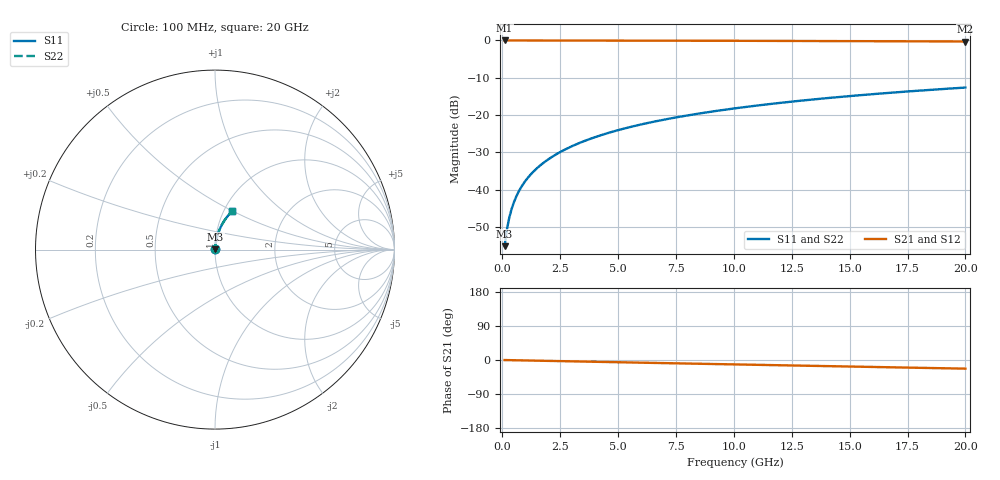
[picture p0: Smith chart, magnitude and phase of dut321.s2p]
! Touchstone file exported from HFSS 2026.1.0
!  File:  C:/ffzhzh/LocalFiles/Ansys_Project_Files/temp_train_BSMRDL_321_1783010826_46388.aedt
!  Generated:  12:48:29 AM Jul  3, 2026
!  Design:  BSMRDL
!  Project:  temp_train_BSMRDL_321_1783010826_46388
! Variables:
!  h_bsmrdl = 4.56um
!  h_ox = 20um
!  h_rdl = 5um
!  h_sub = 80um
!  h_tmrdl = 5um
!  h_tsv = 80um
!  h_via = 3um
!  l_bsmrdl = 287.21um
!  l_sub = 687.21um
!  l_tmrdl = 200um
!  m_sub = 200um
!  pitch = 57.12um
!  r_tsv = 6um
!  s_tmrdl = 10um
!  w_bsmrdl = 24.71um
!  w_sub = 500um
!  w_tmrdl = 12um
!  x_tsv_center1 = 206um
!  x_tsv_center2 = 517.92um
!  x_tsv_center3 = 729.92um
!  x_tsv_center4 = 1041.84um
!  x_tsv_center5 = 1253.84um
!  x_tsv_center6 = 1565.76um
# GHz S MA R 50.000000
! Terminal data exported
! Port[1] = BSM_RDL1_1_T1
! Port[2] = BSM_RDL1_1_T2
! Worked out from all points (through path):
!   200 points, 100 MHz to 20 GHz, reference 50 ohm
!   highest |S21| = -0.01 dB at 100 MHz (marker M1); lowest = -0.3 dB at 20 GHz (marker M2)
!   group delay of S21, straight-line fit = 3.17 ps
!   lowest |S11| = -55.2 dB at 100 MHz (marker M3), VSWR 1.00, Z = 50.1 + j0.137 ohm
!   |S11| at or under -10 dB: start of sweep to end of sweep
!   |S22| runs from -55.2 to -12.6 dB; largest |S21 - S12| = 5e-15
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0.1  0.001747 51.5  0.9989 -0.1  0.9989 -0.1  0.001747 51.5
! Gamma 0 0 0 0
! Port Impedance 50 0 50 0
0.2  0.002928 68.2  0.9988 -0.2  0.9988 -0.2  0.00293 68.2
0.3  0.004195 74.8  0.9988 -0.4  0.9988 -0.4  0.004199 74.7
0.4  0.005478 78.1  0.9987 -0.5  0.9987 -0.5  0.005483 78.0
0.5  0.006762 79.9  0.9987 -0.6  0.9987 -0.6  0.006767 79.9
0.7  0.009317 81.9  0.9986 -0.8  0.9986 -0.8  0.009323 81.9
0.8  0.01059 82.4  0.9986 -1.0  0.9986 -1.0  0.01059 82.4
1  0.01312 83.1  0.9985 -1.2  0.9985 -1.2  0.01312 83.1
1.2  0.01564 83.5  0.9985 -1.4  0.9985 -1.4  0.01564 83.5
1.4  0.01815 83.8  0.9984 -1.7  0.9984 -1.7  0.01815 83.7
1.7  0.0219 83.9  0.9982 -2.0  0.9982 -2.0  0.0219 83.9
2  0.02565 83.9  0.9981 -2.4  0.9981 -2.4  0.02565 83.9
2.7  0.03437 83.7  0.9976 -3.2  0.9976 -3.2  0.03437 83.7
3.5  0.04429 83.1  0.9969 -4.2  0.9969 -4.2  0.04429 83.1
4.2  0.05291 82.5  0.9963 -5.0  0.9963 -5.0  0.05291 82.5
5  0.0627 81.7  0.9954 -5.9  0.9954 -5.9  0.0627 81.7
6.8  0.08447 79.9  0.9933 -8.0  0.9933 -8.0  0.08447 79.9
8.3  0.1024 78.3  0.9912 -9.7  0.9912 -9.7  0.1024 78.3
10.1  0.1235 76.4  0.9884 -11.8  0.9884 -11.8  0.1235 76.4
13.4  0.1615 72.9  0.9823 -15.5  0.9823 -15.5  0.1615 72.9
16.7  0.1982 69.4  0.9752 -19.2  0.9752 -19.2  0.1982 69.4
20  0.2334 65.9  0.967 -22.8  0.967 -22.8  0.2334 65.9
